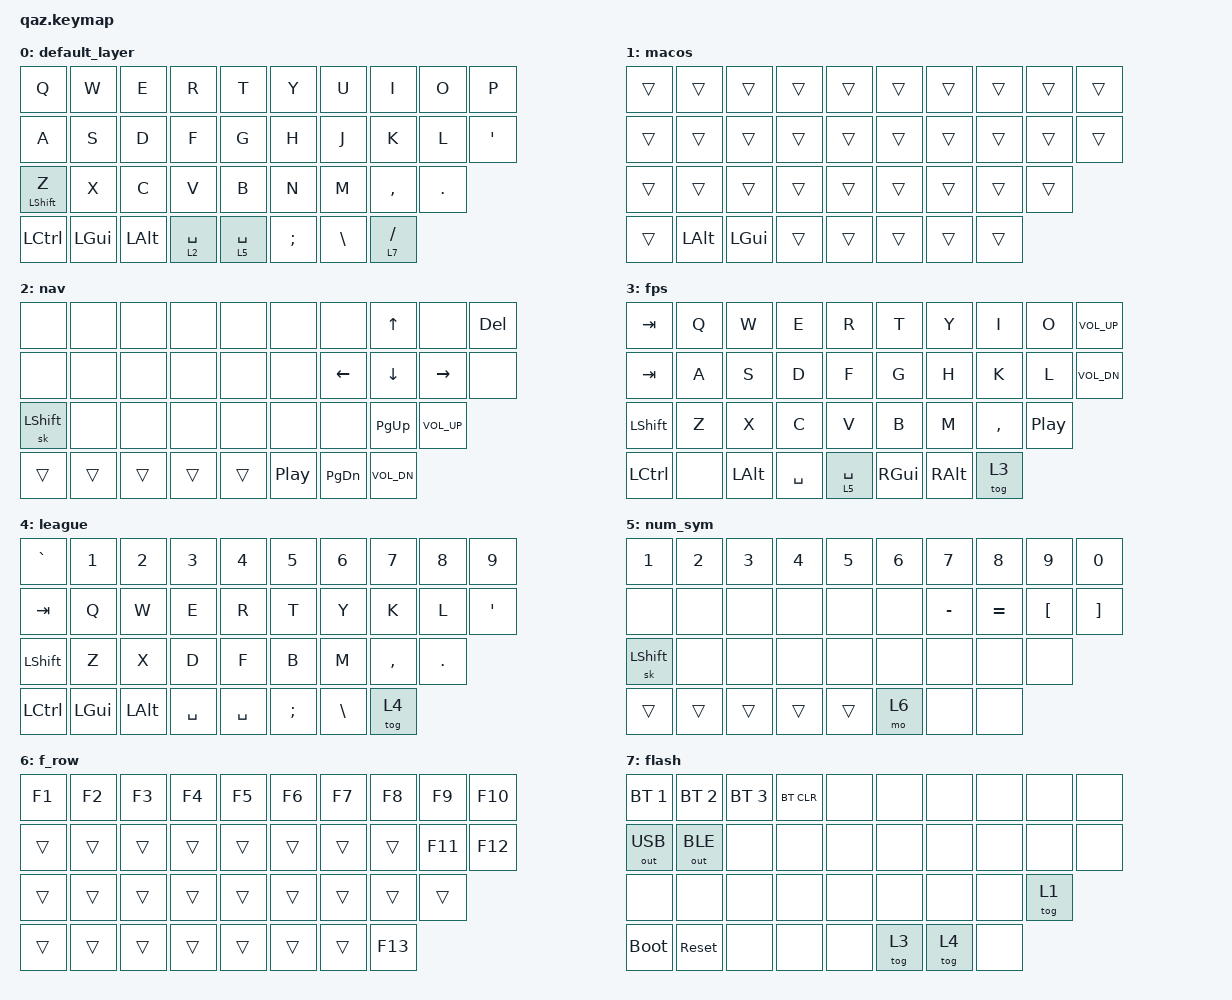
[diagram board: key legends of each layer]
/*
 * Copyright (c) 2020 The ZMK Contributors
 *
 * SPDX-License-Identifier: MIT
 */

#include <behaviors.dtsi>
#include <dt-bindings/zmk/bt.h>
#include <dt-bindings/zmk/keys.h>
#include <dt-bindings/zmk/outputs.h>

#define DEFAULT 0
#define NAV     1
#define FPS     2
#define LEAGUE  3
#define NUM_SYM 4
#define F_ROW   5
#define LOCK    6
#define FLASH   7

/ {
    behaviors {
        hm: homerow_mods {
            compatible = "zmk,behavior-hold-tap";
            label = "homerow mods";
            #binding-cells = <2>;
            tapping-term-ms = <125>;
            flavor = "tap-preferred";
            bindings = <&kp>, <&kp>;
        };

        br: bottomrow_mods {
            compatible = "zmk,behavior-hold-tap";
            label = "bottomrow mods";
            #binding-cells = <2>;
            tapping-term-ms = <300>;
            flavor = "tap-preferred";
            bindings = <&mo>, <&kp>;
        };

        gresc: grave_escape {
            compatible = "zmk,behavior-mod-morph";
            label = "GRAVE_ESCAPE";
            #binding-cells = <0>;
            bindings = <&kp ESC>, <&kp GRAVE>;

            mods = <(MOD_LGUI|MOD_LSFT|MOD_RGUI|MOD_RSFT)>;
        };
    };
};

/ {
    combos {
        compatible = "zmk,combos";

        combo_esc {
            timeout-ms = <30>;
            key-positions = <0 1>; //q and w
            bindings = <&gresc>;
        };

        combo_back {
            timeout-ms = <30>;
            key-positions = <8 9>; //o and p
            bindings = <&kp BACKSPACE>;
        };

        combo_tab {
            timeout-ms = <30>;
            key-positions = <10 11>; //a and s
            bindings = <&kp TAB>;
        };

        combo_enter {
            timeout-ms = <50>;
            key-positions = <18 19>; //l and '
            bindings = <&kp ENTER>;
        };

        combo_caps {
            timeout-ms = <30>;
            key-positions = <20 21>; // z and x
            bindings = <&kp CAPSLOCK>;
        };

        combo_shift {
            timeout-ms = <50>;
            key-positions = <27 28>; // , and .
            bindings = <&kp RSHFT>;
        };
    };
};

/ {
    keymap {
        compatible = "zmk,keymap";

        default_layer {
            bindings = <
&kp Q        &kp W     &kp E     &kp R        &kp T        &kp Y     &kp U     &kp I       &kp O    &kp P
&kp A        &kp S     &kp D     &kp F        &kp G        &kp H     &kp J     &kp K       &kp L    &kp SQT
&hm LSHFT Z  &kp X     &kp C     &kp V        &kp B        &kp N     &kp M     &kp COMMA   &kp DOT
&kp LCTRL    &kp LGUI  &kp LALT  &br 2 SPACE  &br 5 SPACE  &kp SEMI  &kp BSLH  &lt 7 FSLH
            >;
        };

        macos {
            bindings = <
&trans  &trans    &trans    &trans  &trans  &trans  &trans  &trans  &trans  &trans
&trans  &trans    &trans    &trans  &trans  &trans  &trans  &trans  &trans  &trans
&trans  &trans    &trans    &trans  &trans  &trans  &trans  &trans  &trans
&trans  &kp LALT  &kp LGUI  &trans  &trans  &trans  &trans  &trans
            >;
        };

        nav {
            bindings = <
&none      &none   &none   &none   &none   &none     &none      &kp UP        &none         &kp DEL
&none      &none   &none   &none   &none   &none     &kp LEFT   &kp DOWN      &kp RIGHT     &none
&sk LSHFT  &none   &none   &none   &none   &none     &none      &kp PG_UP     &kp C_VOL_UP
&trans     &trans  &trans  &trans  &trans  &kp C_PP  &kp PG_DN  &kp C_VOL_DN
            >;
        };

        fps {
            bindings = <
&kp TAB    &kp Q  &kp W     &kp E      &kp R        &kp T     &kp Y     &kp I      &kp O     &kp C_VOL_UP
&kp TAB    &kp A  &kp S     &kp D      &kp F        &kp G     &kp H     &kp K      &kp L     &kp C_VOL_DN
&kp LSHFT  &kp Z  &kp X     &kp C      &kp V        &kp B     &kp M     &kp COMMA  &kp C_PP
&kp LCTRL  &none  &kp LALT  &kp SPACE  &br 5 SPACE  &kp RGUI  &kp RALT  &tog 3
            >;
        };

        league {
            bindings = <
&kp GRAVE  &kp N1    &kp N2    &kp N3     &kp N4     &kp N5    &kp N6    &kp N7     &kp N8   &kp N9
&kp TAB    &kp Q     &kp W     &kp E      &kp R      &kp T     &kp Y     &kp K      &kp L    &kp SQT
&kp LSHFT  &kp Z     &kp X     &kp D      &kp F      &kp B     &kp M     &kp COMMA  &kp DOT
&kp LCTRL  &kp LGUI  &kp LALT  &kp SPACE  &kp SPACE  &kp SEMI  &kp BSLH  &tog 4
            >;
        };

        num_sym {
            bindings = <
&kp N1     &kp N2  &kp N3  &kp N4  &kp N5  &kp N6  &kp N7     &kp N8     &kp N9    &kp N0
&none      &none   &none   &none   &none   &none   &kp MINUS  &kp EQUAL  &kp LBKT  &kp RBKT
&sk LSHFT  &none   &none   &none   &none   &none   &none      &none      &none
&trans     &trans  &trans  &trans  &trans  &mo 6   &none      &none
            >;
        };

        f_row {
            bindings = <
&kp F1  &kp F2  &kp F3  &kp F4  &kp F5  &kp F6  &kp F7  &kp F8   &kp F9   &kp F10
&trans  &trans  &trans  &trans  &trans  &trans  &trans  &trans   &kp F11  &kp F12
&trans  &trans  &trans  &trans  &trans  &trans  &trans  &trans   &trans
&trans  &trans  &trans  &trans  &trans  &trans  &trans  &kp F13
            >;
        };

        flash {
            bindings = <
&bt BT_SEL 1  &bt BT_SEL 2  &bt BT_SEL 3  &bt BT_CLR  &none  &none   &none   &none  &none   &none
&out OUT_USB  &out OUT_BLE  &none         &none       &none  &none   &none   &none  &none   &none
&none         &none         &none         &none       &none  &none   &none   &none  &tog 1
&bootloader   &sys_reset    &none         &none       &none  &tog 3  &tog 4  &none
            >;
        };
    };
};
